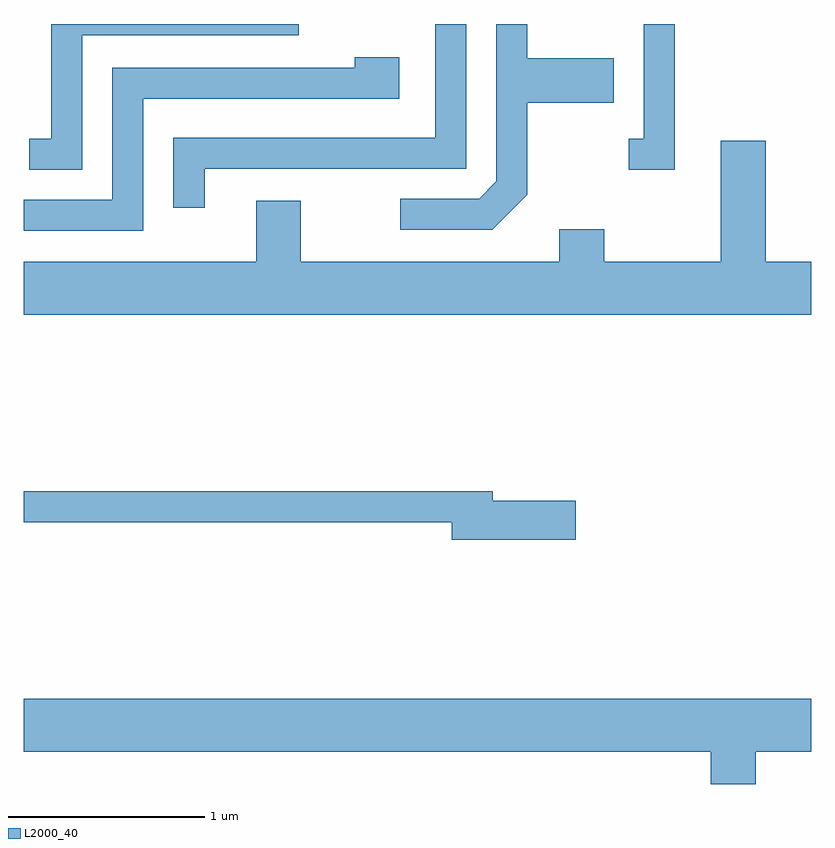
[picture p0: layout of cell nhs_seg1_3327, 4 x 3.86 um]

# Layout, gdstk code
import gdstk
lib = gdstk.Library(unit=1e-6, precision=1e-09)
def P(c, l, *ps):  # polygons
    for p in ps: c.add(gdstk.Polygon(p, *l))
L2000_40 = (2000, 40)

nhs_seg1_3327 = lib.new_cell('nhs_seg1_3327')
P(nhs_seg1_3327, L2000_40, [(286.529,906.976),(287.859,906.976),(287.859,907.712),(287.701,907.712),(287.701,907.134),(286.371,907.134),(286.371,906.778),(286.529,906.778)],
  [(285.909,907.656),(287.008,907.656),(287.008,907.712),(285.751,907.712),(285.751,907.129),(285.638,907.129),(285.638,906.971),(285.909,906.971)],
  [(288.919,907.712),(288.761,907.712),(288.761,907.129),(288.683,907.129),(288.683,906.971),(288.919,906.971)],
  [(288.169,906.844),(288.169,907.311),(288.609,907.311),(288.609,907.539),(288.169,907.539),(288.169,907.712),(288.011,907.712),(288.011,906.912),(287.924,906.824),(287.523,906.824),(287.523,906.666),(287.992,906.666)],
  [(286.219,907.331),(287.519,907.331),(287.519,907.544),(287.291,907.544),(287.291,907.489),(286.061,907.489),(286.061,906.819),(285.611,906.819),(285.611,906.661),(286.219,906.661)],
  [(289.611,906.504),(289.379,906.504),(289.379,907.119),(289.151,907.119),(289.151,906.504),(288.559,906.504),(288.559,906.669),(288.331,906.669),(288.331,906.504),(287.019,906.504),(287.019,906.814),(286.791,906.814),(286.791,906.504),(285.611,906.504),(285.611,906.236),(289.611,906.236)],
  [(288.414,905.289),(287.994,905.289),(287.994,905.339),(285.611,905.339),(285.611,905.181),(287.786,905.181),(287.786,905.091),(288.414,905.091)],
  [(289.329,904.016),(289.611,904.016),(289.611,904.284),(285.611,904.284),(285.611,904.016),(289.101,904.016),(289.101,903.851),(289.329,903.851)])

lib.write_gds('nhs_seg1_3327.gds')
